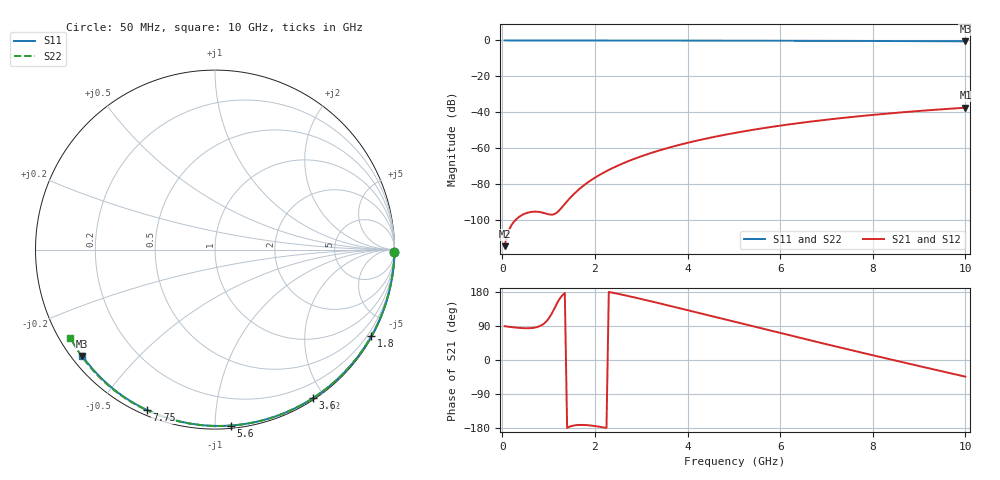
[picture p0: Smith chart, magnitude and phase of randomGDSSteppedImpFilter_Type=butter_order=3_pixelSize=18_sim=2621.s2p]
! freq	dB(S11)	phase(S11)	dB(S12)	phase(S12)
!  dB(S21)	phase(S21)	dB(S22)	phase(S22)
!S-par simulation data
#  GHz  S  DB  R 50
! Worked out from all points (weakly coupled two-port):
!   200 points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, 50 MHz to 10 GHz, reference 50 ohm
!   highest |S21| = -37.52 dB at 10 GHz (marker M1); lowest = -114.8 dB at 50 MHz (marker M2)
!   lowest |S11| = -0.5 dB at 10 GHz (marker M3), VSWR 36.59, Z = 1.53 - j17.5 ohm
!   |S11| at or under -10 dB: nowhere
!   |S22| runs from -0.5 to 0.0 dB; largest |S21 - S12| = 0
!   S11 on the Smith chart (normalised r, x): 50 MHz: open; 1.8 GHz: 0.03, -3.88; 3.6 GHz: 0.02, -1.86; 5.6 GHz: 0.02, -1.09; 7.75 GHz: 0.02, -0.66; 10 GHz: 0.03, -0.35
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0.05  -0.00 -0.8  -114.79 89.2  -114.79 89.2  -0.00 -0.9
0.45  -0.01 -7.3  -97.09 84.0  -97.09 84.0  -0.01 -7.8
0.9  -0.02 -14.6  -96.28 96.0  -96.28 96.0  -0.02 -15.4
1.3  -0.03 -21.0  -92.75 171.2  -92.75 171.2  -0.03 -22.2
1.75  -0.04 -28.1  -81.08 -171.4  -81.08 -171.4  -0.04 -29.7
1.8  -0.04 -28.9  -80.09 -171.7  -80.09 -171.7  -0.04 -30.6
2  -0.04 -32.1  -76.58 -174.2  -76.58 -174.2  -0.04 -33.9
2.15  -0.04 -34.4  -74.30 -177.1  -74.30 -177.1  -0.05 -36.3
2.5  -0.05 -39.8  -69.78 174.6  -69.78 174.6  -0.05 -42.1
2.9  -0.06 -46.0  -65.58 163.8  -65.58 163.8  -0.06 -48.5
3.4  -0.07 -53.5  -61.29 149.4  -61.29 149.4  -0.08 -56.4
3.6  -0.08 -56.5  -59.80 143.5  -59.80 143.5  -0.08 -59.6
4.3  -0.09 -66.7  -55.33 122.4  -55.33 122.4  -0.10 -70.3
5.05  -0.12 -77.3  -51.46 99.8  -51.46 99.8  -0.13 -81.4
5.6  -0.14 -84.9  -49.08 83.2  -49.08 83.2  -0.15 -89.4
6.15  -0.16 -92.3  -46.99 66.8  -46.99 66.8  -0.17 -97.2
6.7  -0.19 -99.6  -45.15 50.4  -45.15 50.4  -0.20 -104.8
7.2  -0.22 -106.1  -43.65 35.7  -43.65 35.7  -0.24 -111.6
7.75  -0.26 -113.1  -42.17 19.7  -42.17 19.7  -0.28 -119.0
8.35  -0.31 -120.7  -40.72 2.5  -40.72 2.5  -0.33 -126.9
9.2  -0.39 -131.3  -38.95 -21.6  -38.95 -21.6  -0.41 -138.1
10  -0.47 -141.3  -37.52 -44.0  -37.52 -44.0  -0.50 -148.7
